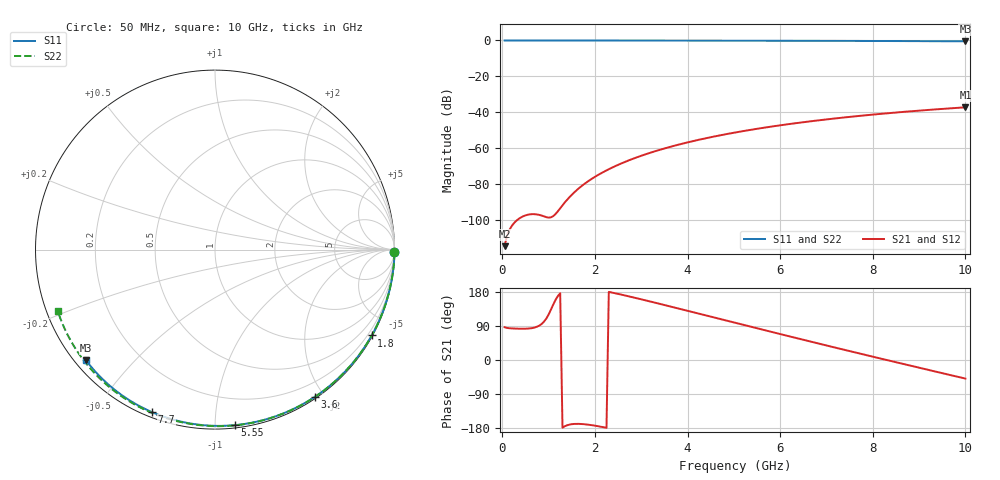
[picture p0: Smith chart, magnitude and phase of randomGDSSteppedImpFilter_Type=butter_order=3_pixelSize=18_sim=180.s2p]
! freq	dB(S11)	phase(S11)	dB(S12)	phase(S12)
!  dB(S21)	phase(S21)	dB(S22)	phase(S22)
!S-par simulation data
#  GHz  S  DB  R 50
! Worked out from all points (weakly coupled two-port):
!   200 points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, 50 MHz to 10 GHz, reference 50 ohm
!   highest |S21| = -37.22 dB at 10 GHz (marker M1); lowest = -114.5 dB at 50 MHz (marker M2)
!   lowest |S11| = -0.5 dB at 10 GHz (marker M3), VSWR 36.82, Z = 1.54 - j18.5 ohm
!   |S11| at or under -10 dB: nowhere
!   |S22| runs from -0.5 to 0.0 dB; largest |S21 - S12| = 0
!   S11 on the Smith chart (normalised r, x): 50 MHz: open; 1.8 GHz: 0.03, -3.91; 3.6 GHz: 0.02, -1.88; 5.55 GHz: 0.02, -1.12; 7.7 GHz: 0.02, -0.68; 10 GHz: 0.03, -0.37
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0.05  -0.00 -0.8  -114.50 86.6  -114.50 86.6  -0.00 -0.9
0.45  -0.01 -7.3  -97.88 82.4  -97.88 82.4  -0.01 -8.3
0.9  -0.02 -14.5  -97.92 101.2  -97.92 101.2  -0.02 -16.4
1.3  -0.03 -20.8  -91.75 -178.5  -91.75 -178.5  -0.03 -23.6
1.75  -0.04 -27.9  -80.29 -169.2  -80.29 -169.2  -0.04 -31.6
1.8  -0.04 -28.7  -79.34 -169.8  -79.34 -169.8  -0.04 -32.5
1.95  -0.04 -31.0  -76.72 -172.3  -76.72 -172.3  -0.04 -35.2
2.1  -0.04 -33.3  -74.40 -175.4  -74.40 -175.4  -0.05 -37.8
2.3  -0.05 -36.4  -71.66 179.7  -71.66 179.7  -0.05 -41.3
2.5  -0.05 -39.5  -69.24 174.5  -69.24 174.5  -0.06 -44.7
2.9  -0.06 -45.6  -65.10 163.1  -65.10 163.1  -0.07 -51.6
3.4  -0.07 -53.0  -60.87 148.2  -60.87 148.2  -0.08 -60.0
3.6  -0.08 -56.0  -59.40 142.1  -59.40 142.1  -0.09 -63.3
4.3  -0.09 -66.1  -54.96 120.6  -54.96 120.6  -0.11 -74.6
5.05  -0.12 -76.6  -51.13 97.5  -51.13 97.5  -0.13 -86.4
5.55  -0.14 -83.4  -48.96 82.2  -48.96 82.2  -0.15 -94.1
6.1  -0.16 -90.8  -46.87 65.4  -46.87 65.4  -0.18 -102.3
6.7  -0.19 -98.6  -44.86 47.3  -44.86 47.3  -0.22 -111.2
7.7  -0.25 -111.3  -42.02 17.6  -42.02 17.6  -0.29 -125.6
8.35  -0.31 -119.3  -40.45 -1.5  -40.45 -1.5  -0.35 -134.9
9.2  -0.38 -129.7  -38.66 -26.1  -38.66 -26.1  -0.44 -147.1
10  -0.47 -139.4  -37.22 -49.1  -37.22 -49.1  -0.53 -158.8
